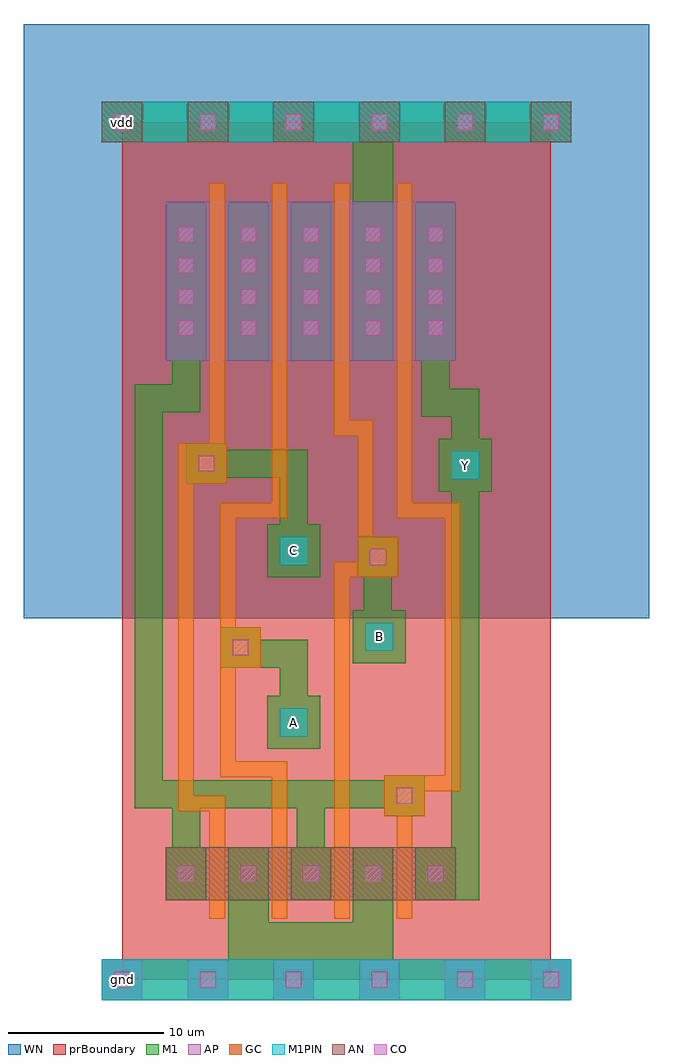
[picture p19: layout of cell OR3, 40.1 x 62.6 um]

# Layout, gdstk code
import gdstk
lib = gdstk.Library(unit=1e-6, precision=1e-09)
def R(c, l, rs):  # rectangles x0, y0, x1, y1
    for r in rs: c.add(gdstk.rectangle(r[:2], r[2:], *l))
def A(c, l, x, y, w, h, nx, ny, dx, dy):  # array of equal rectangles
    R(c, l, [(x+i*dx, y+j*dy, x+i*dx+w, y+j*dy+h) for i in range(nx) for j in range(ny)])
def P(c, l, *ps):  # polygons
    for p in ps: c.add(gdstk.Polygon(p, *l))
AP = (3, 1)
AN = (3, 2)
GC = (8, 1)
CO = (11, 0)
M1 = (13, 0)
M1PIN = (48, 1)
WN = (140, 0)
prBoundary = (235, 0)

or3 = lib.new_cell('OR3')
A(or3, AP, -1.3, -1.3, 2.6, 2.6, 6, 1, 5.5, 0)
R(or3, AP, [(2.8,39.7,21.4,49.9), (2.8,39.7,21.4,49.9)])
A(or3, AN, -1.3, 53.7, 2.6, 2.6, 6, 1, 5.5, 0)
R(or3, AN, [(2.8,5.1,21.4,8.5)])
P(or3, GC, [(5.6,3.9),(5.6,10.8),(3.6,10.8),(3.6,34.4),(5.6,34.4),(5.6,51.1),(6.6,51.1),(6.6,34.4),(6.7,34.4),(6.7,31.8),(4.6,31.8),(4.6,11.8),(6.6,11.8),(6.6,3.9)],
  [(9.6,3.9),(9.6,13),(6.3,13),(6.3,30.6),(9.6,30.6),(9.6,51.1),(10.6,51.1),(10.6,29.6),(7.3,29.6),(7.3,22.6),(8.9,22.6),(8.9,20),(7.3,20),(7.3,14),(10.6,14),(10.6,3.9)],
  [(13.6,3.9),(13.6,26.8),(15.1,26.8),(15.1,34.9),(13.6,34.9),(13.6,51.1),(14.6,51.1),(14.6,35.9),(16.1,35.9),(16.1,28.4),(17.7,28.4),(17.7,25.8),(14.6,25.8),(14.6,3.9)],
  [(17.6,3.9),(17.6,10.5),(16.8,10.5),(16.8,13.1),(20.7,13.1),(20.7,29.6),(17.6,29.6),(17.6,51.1),(18.6,51.1),(18.6,30.6),(21.7,30.6),(21.7,12.1),(19.4,12.1),(19.4,10.5),(18.6,10.5),(18.6,3.9)])
A(or3, CO, -0.5, -0.5, 1, 1, 6, 2, 5.5, 55)
A(or3, CO, 3.6, 41.3, 1, 1, 1, 4, 0, 2)
A(or3, CO, 19.6, 41.3, 1, 1, 1, 4, 0, 2)
R(or3, CO, [(3.6,6.3,4.6,7.3), (7.6,6.3,8.6,7.3), (7.6,6.3,8.6,7.3), (11.6,6.3,12.6,7.3), (11.6,6.3,12.6,7.3), (15.6,6.3,16.6,7.3), (15.6,6.3,16.6,7.3), (19.6,6.3,20.6,7.3), (17.6,11.3,18.6,12.3), (7.1,20.8,8.1,21.8), (15.9,26.6,16.9,27.6), (4.9,32.6,5.9,33.6), (7.6,41.3,8.6,42.3), (7.6,41.3,8.6,42.3), (11.6,41.3,12.6,42.3), (11.6,41.3,12.6,42.3), (15.6,41.3,16.6,42.3), (15.6,41.3,16.6,42.3), (7.6,43.3,8.6,44.3), (7.6,43.3,8.6,44.3), (11.6,43.3,12.6,44.3), (11.6,43.3,12.6,44.3), (15.6,43.3,16.6,44.3), (15.6,43.3,16.6,44.3), (7.6,45.3,8.6,46.3), (7.6,45.3,8.6,46.3), (11.6,45.3,12.6,46.3), (11.6,45.3,12.6,46.3), (15.6,45.3,16.6,46.3), (15.6,45.3,16.6,46.3), (7.6,47.3,8.6,48.3), (7.6,47.3,8.6,48.3), (11.6,47.3,12.6,48.3), (11.6,47.3,12.6,48.3), (15.6,47.3,16.6,48.3), (15.6,47.3,16.6,48.3)])
R(or3, M1, [(6.8,39.7,9.4,49.9), (10.8,39.7,13.4,49.9)])
P(or3, M1, [(-1.3,-1.3),(-1.3,1.3),(6.8,1.3),(6.8,8.5),(9.4,8.5),(9.4,3.7),(14.8,3.7),(14.8,8.5),(17.4,8.5),(17.4,1.3),(28.8,1.3),(28.8,-1.3)],
  [(9.3,14.8),(9.3,18.2),(10.1,18.2),(10.1,20),(6.3,20),(6.3,22.6),(8.9,22.6),(8.9,21.8),(11.9,21.8),(11.9,18.2),(12.7,18.2),(12.7,14.8)],
  [(14.8,20.3),(14.8,23.7),(15.5,23.7),(15.5,25.8),(15.1,25.8),(15.1,28.4),(17.7,28.4),(17.7,25.8),(17.3,25.8),(17.3,23.7),(18.2,23.7),(18.2,20.3)],
  [(9.3,25.8),(9.3,29.2),(10.1,29.2),(10.1,32.2),(6.7,32.2),(6.7,31.8),(4.1,31.8),(4.1,34.4),(6.7,34.4),(6.7,34),(11.9,34),(11.9,29.2),(12.7,29.2),(12.7,25.8)],
  [(2.8,5.1),(2.8,8.5),(3.2,8.5),(3.2,11),(0.8,11),(0.8,38.2),(3.2,38.2),(3.2,39.7),(2.8,39.7),(2.8,49.9),(5.4,49.9),(5.4,39.7),(5,39.7),(5,36.4),(2.6,36.4),(2.6,12.8),(16.8,12.8),(16.8,13.1),(19.4,13.1),(19.4,10.5),(16.8,10.5),(16.8,11),(13,11),(13,8.5),(13.4,8.5),(13.4,5.1),(10.8,5.1),(10.8,8.5),(11.2,8.5),(11.2,11),(5,11),(5,8.5),(5.4,8.5),(5.4,5.1)],
  [(18.8,5.1),(18.8,8.5),(21.1,8.5),(21.1,31.3),(20.3,31.3),(20.3,34.7),(21.1,34.7),(21.1,36.1),(19.2,36.1),(19.2,39.7),(18.8,39.7),(18.8,49.9),(21.4,49.9),(21.4,39.7),(21,39.7),(21,37.9),(22.9,37.9),(22.9,34.7),(23.7,34.7),(23.7,31.3),(22.9,31.3),(22.9,5.1)],
  [(14.8,39.7),(14.8,53.7),(-1.3,53.7),(-1.3,56.3),(28.8,56.3),(28.8,53.7),(17.4,53.7),(17.4,39.7)])
R(or3, M1PIN, [(-1.3,-1.3,28.8,1.3), (10.1,15.6,11.9,17.4), (15.6,21.1,17.4,22.9), (10.1,26.6,11.9,28.4), (21.1,32.1,22.9,33.9), (-1.3,53.7,28.8,56.3)])
R(or3, WN, [(-6.3,23.2,33.8,61.3)])
R(or3, prBoundary, [(0,0,27.5,55)])
or3.add(gdstk.Label('vdd', (0,55), layer=48, texttype=0))
or3.add(gdstk.Label('C', (11,27.5), layer=48, texttype=0))
or3.add(gdstk.Label('B', (16.5,22), layer=48, texttype=0))
or3.add(gdstk.Label('Y', (22,33), layer=48, texttype=0))
or3.add(gdstk.Label('A', (11,16.5), layer=48, texttype=0))
or3.add(gdstk.Label('gnd', (0,0), layer=48, texttype=0))

lib.write_gds('OR3.gds')
